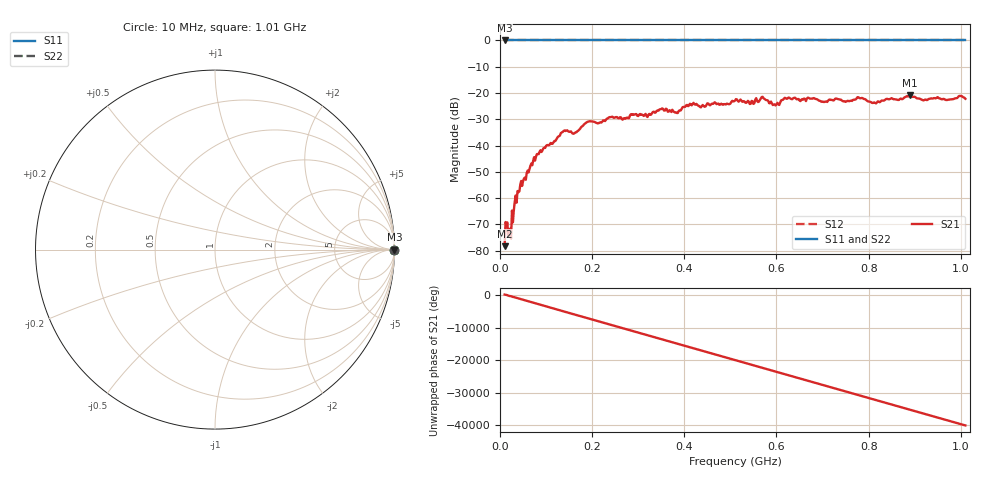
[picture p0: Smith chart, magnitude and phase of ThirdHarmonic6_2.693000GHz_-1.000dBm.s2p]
! 8/17/2025 6:24:13 AM
! C:\ANRITSUVNA\TEMP\TEMP.S2P
! CHANNEL.1
! TR.MEASUREMENT
! RAW.DATA
! RF.CORRECTION.OFF
! AVERAGING.OFF
! IF.BANDWIDTH: 5KHZ
! SWEEPTYPE:  FREQ.SWEEP(Linear)
! Reference Plane Port Info
! PORT:  PORT1  PORT2
! DISTANCE:  0  m  0  m
! TIME:  0  s  0  s
! PHASE.OFFSET:  0  deg.  0  deg.
! LOSS:  0  dB  0  dB
! REF.LOSS:  0  dB  0  dB
! REF.FREQ:  0  Hz  0  Hz
! Power Info
! POWER:  -20  dBm  -20  dBm
! EFF.POWER:  -20  dBm  -20  dBm
! SOURCE.ATTEN:  0  dB  0  dB
! TEST.ATTEN:  0  dB  0  dB
# GHZ S RI R 50.0
! FREQ.GHZ  S11RE  S11IM  S21RE  S21IM  S12RE  S12IM  S22RE  S22IM
!; PortSelection: Port_12
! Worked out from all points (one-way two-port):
!   501 points, 10 MHz to 1.01 GHz, reference 50 ohm
!   highest |S21| = -20.90 dB at 890 MHz (marker M1); lowest = -78.3 dB at 10 MHz (marker M2)
!   lowest |S11| = 0.0 dB at 10 MHz (marker M3)
!   |S11| at or under -10 dB: nowhere
!   |S22| runs from 0.0 to 0.0 dB; largest |S21 - S12| = 1.1
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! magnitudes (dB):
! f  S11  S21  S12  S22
! 10 MHz  0.0  -78.3  0.0  0.0
! 16 MHz  0.0  -69.3  0.0  0.0
! 20 MHz  0.0  -72.8  0.0  0.0
! 24 MHz  0.0  -75.5  0.0  0.0
! 30 MHz  0.0  -64.7  0.0  0.0
! 42 MHz  0.0  -57.4  0.0  0.0
! 78 MHz  0.0  -44.3  0.0  0.0
! 136 MHz  0.0  -34.8  0.0  0.0
! 162 MHz  0.0  -35.2  0.0  0.0
! 178 MHz  0.0  -32.7  0.0  0.0
! 344 MHz  0.0  -26.7  0.0  0.0
! 382 MHz  0.0  -27.4  0.0  0.0
! 416 MHz  0.0  -24.7  0.0  0.0
! 510 MHz  0.0  -22.9  0.0  0.0
! 570 MHz  0.0  -21.5  0.0  0.0
! 596 MHz  0.0  -24.3  0.0  0.0
! 622 MHz  0.0  -22.2  0.0  0.0
! 678 MHz  0.0  -22.2  0.0  0.0
! 812 MHz  0.0  -23.6  0.0  0.0
! 844 MHz  0.0  -22.4  0.0  0.0
! 890 MHz  0.0  -20.9  0.0  0.0
! 1.01 GHz  0.0  -22.2  0.0  0.0
